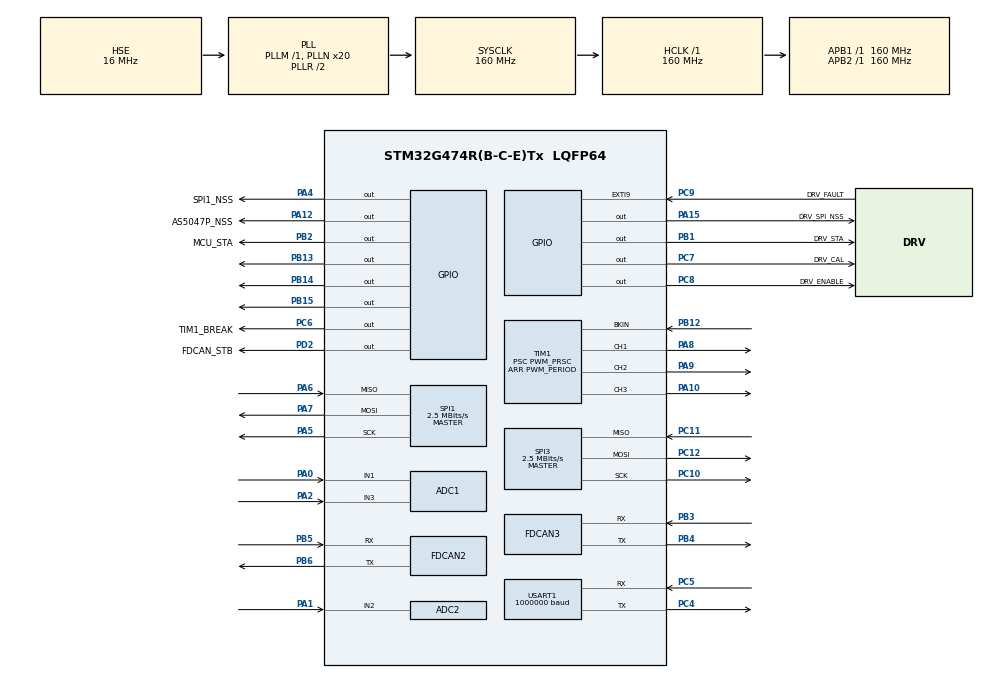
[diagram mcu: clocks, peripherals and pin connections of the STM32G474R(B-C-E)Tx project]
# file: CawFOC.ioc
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ADC1.Channel-0\#ChannelRegularConversion=ADC_CHANNEL_1
ADC1.EnableInjectedConversion=ENABLE
ADC1.ExternalTrigInjecConv=ADC_EXTERNALTRIGINJEC_T1_CC4
ADC1.ExternalTrigInjecConvEdge=ADC_EXTERNALTRIGINJECCONV_EDGE_FALLING
ADC1.InjNumberOfConversion=1
ADC1.InjectedChannel-1\#ChannelInjectedConversion=ADC_CHANNEL_1
ADC1.InjectedOffsetNumber-1\#ChannelInjectedConversion=ADC_OFFSET_NONE
ADC1.InjectedRank-1\#ChannelInjectedConversion=1
ADC1.InjectedSamplingTime-1\#ChannelInjectedConversion=ADC_SAMPLETIME_6CYCLES_5
ADC1.NbrOfConversionFlag=1
ADC1.OffsetNumber-0\#ChannelRegularConversion=ADC_OFFSET_NONE
ADC1.Rank-0\#ChannelRegularConversion=1
ADC1.SamplingTime-0\#ChannelRegularConversion=ADC_SAMPLETIME_2CYCLES_5
ADC1.master=1
ADC2.Channel-0\#ChannelRegularConversion=ADC_CHANNEL_2
ADC2.EnableInjectedConversion=ENABLE
ADC2.ExternalTrigInjecConv=ADC_EXTERNALTRIGINJEC_T1_CC4
ADC2.ExternalTrigInjecConvEdge=ADC_EXTERNALTRIGINJECCONV_EDGE_FALLING
ADC2.InjNumberOfConversion=1
ADC2.InjectedChannel-1\#ChannelInjectedConversion=ADC_CHANNEL_2
ADC2.InjectedOffsetNumber-1\#ChannelInjectedConversion=ADC_OFFSET_NONE
ADC2.InjectedRank-1\#ChannelInjectedConversion=1
ADC2.InjectedSamplingTime-1\#ChannelInjectedConversion=ADC_SAMPLETIME_6CYCLES_5
ADC2.NbrOfConversionFlag=1
ADC2.OffsetNumber-0\#ChannelRegularConversion=ADC_OFFSET_NONE
ADC2.Rank-0\#ChannelRegularConversion=1
ADC2.Rank1_Channel=ADC_CHANNEL_2
ADC2.SamplingTime-0\#ChannelRegularConversion=ADC_SAMPLETIME_2CYCLES_5
Dma.Request0=USART1_TX
Dma.Request1=USART1_RX
Dma.USART1_RX.1.Direction=DMA_PERIPH_TO_MEMORY
Dma.USART1_RX.1.EventEnable=DISABLE
Dma.USART1_RX.1.Instance=DMA1_Channel2
Dma.USART1_RX.1.MemDataAlignment=DMA_MDATAALIGN_BYTE
Dma.USART1_RX.1.MemInc=DMA_MINC_ENABLE
Dma.USART1_RX.1.Mode=DMA_NORMAL
Dma.USART1_RX.1.PeriphDataAlignment=DMA_PDATAALIGN_BYTE
Dma.USART1_RX.1.PeriphInc=DMA_PINC_DISABLE
Dma.USART1_RX.1.Polarity=HAL_DMAMUX_REQ_GEN_RISING
Dma.USART1_RX.1.Priority=DMA_PRIORITY_VERY_HIGH
Dma.USART1_RX.1.RequestNumber=1
Dma.USART1_RX.1.SignalID=NONE
Dma.USART1_RX.1.SyncEnable=DISABLE
Dma.USART1_RX.1.SyncPolarity=HAL_DMAMUX_SYNC_NO_EVENT
Dma.USART1_RX.1.SyncRequestNumber=1
Dma.USART1_RX.1.SyncSignalID=NONE
Dma.USART1_TX.0.Direction=DMA_MEMORY_TO_PERIPH
Dma.USART1_TX.0.EventEnable=DISABLE
Dma.USART1_TX.0.Instance=DMA1_Channel1
Dma.USART1_TX.0.MemDataAlignment=DMA_MDATAALIGN_BYTE
Dma.USART1_TX.0.MemInc=DMA_MINC_ENABLE
Dma.USART1_TX.0.Mode=DMA_NORMAL
Dma.USART1_TX.0.PeriphDataAlignment=DMA_PDATAALIGN_BYTE
Dma.USART1_TX.0.PeriphInc=DMA_PINC_DISABLE
Dma.USART1_TX.0.Polarity=HAL_DMAMUX_REQ_GEN_RISING
Dma.USART1_TX.0.Priority=DMA_PRIORITY_VERY_HIGH
Dma.USART1_TX.0.RequestNumber=1
Dma.USART1_TX.0.SignalID=NONE
Dma.USART1_TX.0.SyncEnable=DISABLE
Dma.USART1_TX.0.SyncPolarity=HAL_DMAMUX_SYNC_NO_EVENT
Dma.USART1_TX.0.SyncRequestNumber=1
Dma.USART1_TX.0.SyncSignalID=NONE
FDCAN2.CalculateBaudRateNominal=3333333
FDCAN2.CalculateTimeBitNominal=300
FDCAN2.CalculateTimeQuantumNominal=100.0
FDCAN3.CalculateBaudRateNominal=3333333
FDCAN3.CalculateTimeBitNominal=300
FDCAN3.CalculateTimeQuantumNominal=100.0
FREERTOS.BinarySemaphores01=observationBinarySem,Dynamic,NULL,Available
FREERTOS.MEMORY_ALLOCATION=2
FREERTOS.Tasks01=defaultTask,0,256,StartDefaultTask,Default,NULL,Static,defaultTaskBuffer,defaultTaskControlBlock;eventTask,0,512,StartEventTask,Default,NULL,Static,stateTaskBuffer,stateTaskControlBlock
FREERTOS.configENABLE_FPU=1
FREERTOS.configTOTAL_HEAP_SIZE=30720
FREERTOS.configUSE_TIMERS=0
Mcu.Family=STM32G4
Mcu.Name=STM32G474R(B-C-E)Tx
Mcu.Package=LQFP64
Mcu.UserConstants=CKTIM,160000000;PWM4_PULSE,1500;PWM_PRSC,0;PWM_FREQ,20000;PWM_PERIOD,CKTIM/(2*PWM_FREQ*(PWM_PRSC+1))
NVIC.ADC1_2_IRQn=true\:10\:0\:true\:false\:true\:true\:true\:true\:true
NVIC.DMA1_Channel1_IRQn=true\:5\:0\:true\:false\:true\:true\:true\:true\:true
NVIC.DMA1_Channel2_IRQn=true\:5\:0\:true\:false\:true\:true\:false\:true\:true
NVIC.PriorityGroup=NVIC_PRIORITYGROUP_4
NVIC.TIM1_UP_TIM16_IRQn=true\:10\:0\:true\:false\:true\:true\:true\:true\:true
NVIC.TIM6_DAC_IRQn=true\:15\:0\:true\:false\:true\:false\:false\:true\:true
NVIC.TIM8_UP_IRQn=true\:5\:0\:true\:false\:true\:true\:true\:true\:true
NVIC.TimeBase=TIM6_DAC_IRQn
NVIC.TimeBaseIP=TIM6
NVIC.USART1_IRQn=true\:5\:0\:true\:false\:true\:true\:true\:true\:true
PA0.Mode=IN1-Single-Ended
PA0.Signal=ADC1_IN1
PA1.Mode=IN2-Single-Ended
PA1.Signal=ADC2_IN2
PA10.Signal=S_TIM1_CH3
PA12.GPIO_Label=AS5047P_NSS
PA12.GPIO_Speed=GPIO_SPEED_FREQ_VERY_HIGH
PA12.PinState=GPIO_PIN_SET
PA12.Signal=GPIO_Output
PA13.Mode=Serial_Wire
PA13.Signal=SYS_JTMS-SWDIO
PA14.Mode=Serial_Wire
PA14.Signal=SYS_JTCK-SWCLK
PA15.GPIO_Label=DRV_SPI_NSS
PA15.GPIO_Speed=GPIO_SPEED_FREQ_VERY_HIGH
PA15.PinState=GPIO_PIN_SET
PA15.Signal=GPIO_Output
PA2.Mode=IN3-Single-Ended
PA2.Signal=ADC1_IN3
PA4.GPIO_Label=SPI1_NSS
PA4.GPIO_Speed=GPIO_SPEED_FREQ_VERY_HIGH
PA4.PinState=GPIO_PIN_SET
PA4.Signal=GPIO_Output
PA5.GPIO_Speed=GPIO_SPEED_FREQ_VERY_HIGH
PA5.Mode=Full_Duplex_Master
PA5.Signal=SPI1_SCK
PA6.GPIO_Speed=GPIO_SPEED_FREQ_VERY_HIGH
PA6.Mode=Full_Duplex_Master
PA6.Signal=SPI1_MISO
PA7.GPIO_Speed=GPIO_SPEED_FREQ_VERY_HIGH
PA7.Mode=Full_Duplex_Master
PA7.Signal=SPI1_MOSI
PA8.Signal=S_TIM1_CH1
PA9.Signal=S_TIM1_CH2
PB1.GPIO_Label=DRV_STA
PB1.Signal=GPIO_Output
PB12.Mode=Activate-Break-Input
PB12.Signal=TIM1_BKIN
PB13.GPIO_PuPd=GPIO_PULLUP
PB13.PinState=GPIO_PIN_SET
PB13.Signal=GPIO_Output
PB14.GPIO_PuPd=GPIO_PULLUP
PB14.PinState=GPIO_PIN_SET
PB14.Signal=GPIO_Output
PB15.GPIO_PuPd=GPIO_PULLUP
PB15.PinState=GPIO_PIN_SET
PB15.Signal=GPIO_Output
PB2.GPIO_Label=MCU_STA
PB2.Signal=GPIO_Output
PB3.Mode=FDCAN_Activate
PB3.Signal=FDCAN3_RX
PB4.Mode=FDCAN_Activate
PB4.Signal=FDCAN3_TX
PB5.Mode=FDCAN_Activate
PB5.Signal=FDCAN2_RX
PB6.Mode=FDCAN_Activate
PB6.Signal=FDCAN2_TX
PC10.GPIO_Speed=GPIO_SPEED_FREQ_VERY_HIGH
PC10.Mode=Full_Duplex_Master
PC10.Signal=SPI3_SCK
PC11.GPIO_Speed=GPIO_SPEED_FREQ_VERY_HIGH
PC11.Mode=Full_Duplex_Master
PC11.Signal=SPI3_MISO
PC12.GPIO_Speed=GPIO_SPEED_FREQ_VERY_HIGH
PC12.Mode=Full_Duplex_Master
PC12.Signal=SPI3_MOSI
PC4.GPIO_Speed=GPIO_SPEED_FREQ_VERY_HIGH
PC4.Mode=Asynchronous
PC4.Signal=USART1_TX
PC5.GPIO_Speed=GPIO_SPEED_FREQ_VERY_HIGH
PC5.Mode=Asynchronous
PC5.Signal=USART1_RX
PC6.GPIO_Label=TIM1_BREAK
PC6.Signal=GPIO_Output
PC7.GPIO_Label=DRV_CAL
PC7.Signal=GPIO_Output
PC8.GPIO_Label=DRV_ENABLE
PC8.Signal=GPIO_Output
PC9.GPIO_Label=DRV_FAULT
PC9.Signal=GPXTI9
PD2.GPIO_Label=FDCAN_STB
PD2.Signal=GPIO_Output
PF0-OSC_IN.Mode=HSE-External-Oscillator
PF0-OSC_IN.Signal=RCC_OSC_IN
PF1-OSC_OUT.Mode=HSE-External-Oscillator
PF1-OSC_OUT.Signal=RCC_OSC_OUT
ProjectManager.HeapSize=0x200
ProjectManager.StackSize=0x400
ProjectManager.TargetToolchain=Makefile
RCC.ADC12Freq_Value=160000000
RCC.ADC345Freq_Value=160000000
RCC.AHBFreq_Value=160000000
RCC.APB1Freq_Value=160000000
RCC.APB1TimFreq_Value=160000000
RCC.APB2Freq_Value=160000000
RCC.APB2TimFreq_Value=160000000
RCC.CortexFreq_Value=160000000
RCC.EXTERNAL_CLOCK_VALUE=12288000
RCC.EnbaleCSS=true
RCC.HCLKFreq_Value=160000000
RCC.HSE_VALUE=16000000
RCC.HSI48_VALUE=48000000
RCC.HSI_VALUE=16000000
RCC.LSE_VALUE=32768
RCC.PLLN=20
RCC.PLLSourceVirtual=RCC_PLLSOURCE_HSE
RCC.SYSCLKFreq_VALUE=160000000
RCC.SYSCLKSource=RCC_SYSCLKSOURCE_PLLCLK
RCC.USBFreq_Value=160000000
RCC.VCOOutputFreq_Value=320000000
SH.S_TIM1_CH1.0=TIM1_CH1,PWM Generation1 CH1
SH.S_TIM1_CH2.0=TIM1_CH2,PWM Generation2 CH2
SH.S_TIM1_CH3.0=TIM1_CH3,PWM Generation3 CH3
SPI1.BaudRatePrescaler=SPI_BAUDRATEPRESCALER_64
SPI1.CLKPhase=SPI_PHASE_2EDGE
SPI1.CalculateBaudRate=2.5 MBits/s
SPI1.DataSize=SPI_DATASIZE_16BIT
SPI1.Direction=SPI_DIRECTION_2LINES
SPI1.Mode=SPI_MODE_MASTER
SPI1.VirtualType=VM_MASTER
SPI3.BaudRatePrescaler=SPI_BAUDRATEPRESCALER_64
SPI3.CLKPhase=SPI_PHASE_2EDGE
SPI3.CalculateBaudRate=2.5 MBits/s
SPI3.DataSize=SPI_DATASIZE_16BIT
SPI3.Direction=SPI_DIRECTION_2LINES
SPI3.Mode=SPI_MODE_MASTER
SPI3.VirtualType=VM_MASTER
TIM1.AutoReloadPreload=TIM_AUTORELOAD_PRELOAD_ENABLE
TIM1.Channel-PWM\ Generation1\ CH1=TIM_CHANNEL_1
TIM1.Channel-PWM\ Generation2\ CH2=TIM_CHANNEL_2
TIM1.Channel-PWM\ Generation3\ CH3=TIM_CHANNEL_3
TIM1.Channel-PWM\ Generation4\ No\ Output=TIM_CHANNEL_4
TIM1.ClockDivision=TIM_CLOCKDIVISION_DIV1
TIM1.CounterMode=TIM_COUNTERMODE_CENTERALIGNED1
TIM1.LockLevel=TIM_LOCKLEVEL_1
TIM1.PeriodNoDither=PWM_PERIOD
TIM1.Prescaler=PWM_PRSC
TIM1.PulseNoDither_4=PWM4_PULSE
TIM1.RepetitionCounter=1
TIM8.AutoReloadPreload=TIM_AUTORELOAD_PRELOAD_ENABLE
TIM8.CounterMode=TIM_COUNTERMODE_CENTERALIGNED1
TIM8.PeriodNoDither=PWM_PERIOD
TIM8.Prescaler=PWM_PRSC
TIM8.RepetitionCounter=1
USART1.BaudRate=1000000
USART1.VirtualMode-Asynchronous=VM_ASYNC
VP_FREERTOS_VS_CMSIS_V1.Mode=CMSIS_V1
VP_SYS_VS_DBSignals.Mode=DisableDeadBatterySignals
VP_SYS_VS_tim6.Mode=TIM6
VP_TIM1_VS_ClockSourceINT.Mode=Internal
VP_TIM1_VS_no_output4.Mode=PWM Generation4 No Output
VP_TIM8_VS_ClockSourceINT.Mode=Internal
board=custom

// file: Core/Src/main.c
/* USER CODE BEGIN Header */
/**
 ******************************************************************************
 * @file           : main.c
 * @brief          : Main program body
 ******************************************************************************
 * @attention
 *
 * Copyright (c) 2024 STMicroelectronics.
 * All rights reserved.
 *
 * This software is licensed under terms that can be found in the LICENSE file
 * in the root directory of this software component.
 * If no LICENSE file comes with this software, it is provided AS-IS.
 *
 ******************************************************************************
 */
/* USER CODE END Header */
#include "main.h"
#include "cmsis_os.h"
#include "adc.h"
#include "dma.h"
#include "fdcan.h"
#include "spi.h"
#include "tim.h"
#include "usart.h"
#include "gpio.h"

void SystemClock_Config(void);
void MX_FREERTOS_Init(void);

int main(void)
{

  /* MCU Configuration--------------------------------------------------------*/

  /* Reset of all peripherals, Initializes the Flash interface and the Systick. */
  HAL_Init();

  /* Configure the system clock */
  SystemClock_Config();

  /* Initialize all configured peripherals */
  MX_GPIO_Init();
  MX_DMA_Init();
  MX_ADC1_Init();
  MX_FDCAN2_Init();
  MX_FDCAN3_Init();
  MX_SPI1_Init();
  MX_SPI3_Init();
  MX_TIM1_Init();
  MX_USART1_UART_Init();
  MX_ADC2_Init();
  MX_TIM8_Init();

  /* Call init function for freertos objects (in cmsis_os2.c) */
  MX_FREERTOS_Init();

  /* Start scheduler */
  osKernelStart();

  /* We should never get here as control is now taken by the scheduler */

  /* Infinite loop */
  while (1) {

  }
}

void SystemClock_Config(void)
{
  RCC_OscInitTypeDef RCC_OscInitStruct = {0};
  RCC_ClkInitTypeDef RCC_ClkInitStruct = {0};

  /** Configure the main internal regulator output voltage
  */
  HAL_PWREx_ControlVoltageScaling(PWR_REGULATOR_VOLTAGE_SCALE1_BOOST);

  /** Initializes the RCC Oscillators according to the specified parameters
  * in the RCC_OscInitTypeDef structure.
  */
  RCC_OscInitStruct.OscillatorType = RCC_OSCILLATORTYPE_HSE;
  RCC_OscInitStruct.HSEState = RCC_HSE_ON;
  RCC_OscInitStruct.PLL.PLLState = RCC_PLL_ON;
  RCC_OscInitStruct.PLL.PLLSource = RCC_PLLSOURCE_HSE;
  RCC_OscInitStruct.PLL.PLLM = RCC_PLLM_DIV1;
  RCC_OscInitStruct.PLL.PLLN = 20;
  RCC_OscInitStruct.PLL.PLLP = RCC_PLLP_DIV2;
  RCC_OscInitStruct.PLL.PLLQ = RCC_PLLQ_DIV2;
  RCC_OscInitStruct.PLL.PLLR = RCC_PLLR_DIV2;
  if (HAL_RCC_OscConfig(&RCC_OscInitStruct) != HAL_OK)
  {
    Error_Handler();
  }

  /** Initializes the CPU, AHB and APB buses clocks
  */
  RCC_ClkInitStruct.ClockType = RCC_CLOCKTYPE_HCLK|RCC_CLOCKTYPE_SYSCLK
                              |RCC_CLOCKTYPE_PCLK1|RCC_CLOCKTYPE_PCLK2;
  RCC_ClkInitStruct.SYSCLKSource = RCC_SYSCLKSOURCE_PLLCLK;
  RCC_ClkInitStruct.AHBCLKDivider = RCC_SYSCLK_DIV1;
  RCC_ClkInitStruct.APB1CLKDivider = RCC_HCLK_DIV1;
  RCC_ClkInitStruct.APB2CLKDivider = RCC_HCLK_DIV1;

  if (HAL_RCC_ClockConfig(&RCC_ClkInitStruct, FLASH_LATENCY_4) != HAL_OK)
  {
    Error_Handler();
  }

  /** Enables the Clock Security System
  */
  HAL_RCC_EnableCSS();
}

void HAL_TIM_PeriodElapsedCallback(TIM_HandleTypeDef *htim)
{
  if (htim->Instance == TIM6) {
    HAL_IncTick();
  }
}

void Error_Handler(void)
{
  __disable_irq();
  while (1) {
  }
}

#ifdef  USE_FULL_ASSERT
/**
  * @brief  Reports the name of the source file and the source line number
  *         where the assert_param error has occurred.
  * @param  file: pointer to the source file name
  * @param  line: assert_param error line source number
  * @retval None
  */
void assert_failed(uint8_t *file, uint32_t line)
{
  /* USER CODE BEGIN 6 */
  /* User can add his own implementation to report the file name and line
     number, ex: printf("Wrong parameters value: file %s on line %d\r\n", file,
     line) */
  /* USER CODE END 6 */
}
#endif /* USE_FULL_ASSERT */

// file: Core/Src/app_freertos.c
/* USER CODE BEGIN Header */
/**
 ******************************************************************************
 * File Name          : app_freertos.c
 * Description        : Code for freertos applications
 ******************************************************************************
 * @attention
 *
 * Copyright (c) 2024 STMicroelectronics.
 * All rights reserved.
 *
 * This software is licensed under terms that can be found in the LICENSE file
 * in the root directory of this software component.
 * If no LICENSE file comes with this software, it is provided AS-IS.
 *
 ******************************************************************************
 */
/* USER CODE END Header */

#include "FreeRTOS.h"
#include "cmsis_os.h"
#include "main.h"
#include "task.h"

/* USER CODE BEGIN Includes */
#include "../../caw_embedded/app/motor/observation.h"
#include "as5047p.h"
#include "caw_config.h"
#include "code.h"
#include "current.h"
#include "custom.h"
#include "device.h"
#include "drv8323.h"
#include "event.h"
#include "helper.h"
#include "log.h"
#include "lowpass_filter.h"
#include "motor.h"
#include "motor_flash_params.h"
#include "motor_init_params.h"
#include "motor_load_params.h"
#include "motor_params.h"
#include "motor_set_params.h"
#include "pid.h"
#include "pwmx3.h"

/* USER CODE END Includes */

/* USER CODE BEGIN Variables */
device_t usart_dev;
drv8323_t drv8323_dev;
motor_t motor;
pwmx3_driver driver;
as5047p_t sensor;
current_t current_sensor;

extern pid_t global_motor_pid_current_q;
extern lowpass_filter_t global_motor_lpf_q;
extern pid_t global_motor_pid_current_d;
extern lowpass_filter_t global_motor_lpf_d;
extern pid_t global_motor_pid_velocity;
extern lowpass_filter_t global_motor_lpf_velocity;
extern pid_t global_motor_pid_angle;
extern lowpass_filter_t global_motor_lpf_angle;
extern pll_t global_motor_encoder_pll;

event_t event;

extern motor_params_t global_motor_params;
/* USER CODE END Variables */
osThreadId defaultTaskHandle;
uint32_t defaultTaskBuffer[256];
osStaticThreadDef_t defaultTaskControlBlock;
osThreadId eventTaskHandle;
uint32_t stateTaskBuffer[512];
osStaticThreadDef_t stateTaskControlBlock;
osSemaphoreId observationBinarySemHandle;

void StartDefaultTask(void const* argument);
void StartEventTask(void const* argument);

void MX_FREERTOS_Init(void); /* (MISRA C 2004 rule 8.1) */

/* GetIdleTaskMemory prototype (linked to static allocation support) */
void vApplicationGetIdleTaskMemory(StaticTask_t** ppxIdleTaskTCBBuffer,
                                   StackType_t** ppxIdleTaskStackBuffer,
                                   uint32_t* pulIdleTaskStackSize);

/* USER CODE BEGIN GET_IDLE_TASK_MEMORY */
static StaticTask_t xIdleTaskTCBBuffer;
static StackType_t xIdleStack[configMINIMAL_STACK_SIZE];

void vApplicationGetIdleTaskMemory(StaticTask_t** ppxIdleTaskTCBBuffer,
                                   StackType_t** ppxIdleTaskStackBuffer,
                                   uint32_t* pulIdleTaskStackSize) {
  *ppxIdleTaskTCBBuffer = &xIdleTaskTCBBuffer;
  *ppxIdleTaskStackBuffer = &xIdleStack[0];
  *pulIdleTaskStackSize = configMINIMAL_STACK_SIZE;
  /* place for user code */
}
/* USER CODE END GET_IDLE_TASK_MEMORY */

void MX_FREERTOS_Init(void) {
  /* USER CODE BEGIN Init */
  log_init(&usart_dev);
  device_init(&usart_dev);
  device_set_id(&usart_dev, 0x1001, device_type_motor);
  event_init(&usart_dev);
  event_register(main_code_motor, sub_code_motor_load_params,
                 motor_load_params_cb);
  event_register(main_code_motor, sub_code_motor_init_params,
                 motor_init_params_cb);
  event_register(main_code_motor, sub_code_motor_set_params,
                 motor_set_params_cb);
  event_register(main_code_motor, sub_code_motor_flash_params,
                 motor_flash_params_cb);
  event_run();

  info("CawDrive v1.0.0");
  info("https://github.com/fake-rick/caw-drive");

  drv8323_init(&drv8323_dev, &hspi3);
  info("DRV8323 init ok");
  motor_custom_init(&drv8323_dev);
  pwmx3_driver_init(&driver, &htim1, 12.0, 12.0, PWM_PERIOD);

  as5047p_init(&sensor, &hspi3);
  info("AS5047P init ok");
  current_init(&current_sensor, &htim1, TIM_CHANNEL_4, &hadc1, &hadc2, 0.001,
               40.0);
  current_calibrate_offsets(&current_sensor);

  motor_params_load(&global_motor_params);
  motor_params_reset();

  // pll_init(&encoder_pll, as5047p_get_cpr(), 1000.0);

  motor_init(&motor, &driver, &current_sensor, &sensor, -1,
             global_motor_params.mode, 7, &global_motor_pid_current_q,
             &global_motor_lpf_q, &global_motor_pid_current_d,
             &global_motor_lpf_d, &global_motor_pid_velocity,
             &global_motor_lpf_velocity, &global_motor_pid_angle,
             &global_motor_lpf_angle, 0);

  motor_align_sensor(&motor);

  HAL_TIM_Base_Start_IT(&htim8);

  info("initialized successfully");
  /* USER CODE END Init */

  /* Create the semaphores(s) */
  /* definition and creation of observationBinarySem */
  osSemaphoreDef(observationBinarySem);
  observationBinarySemHandle =
      osSemaphoreCreate(osSemaphore(observationBinarySem), 1);

  /* Create the thread(s) */
  /* definition and creation of defaultTask */
  osThreadStaticDef(defaultTask, StartDefaultTask, osPriorityNormal, 0, 256,
                    defaultTaskBuffer, &defaultTaskControlBlock);
  defaultTaskHandle = osThreadCreate(osThread(defaultTask), NULL);

  /* definition and creation of eventTask */
  osThreadStaticDef(eventTask, StartEventTask, osPriorityNormal, 0, 512,
                    stateTaskBuffer, &stateTaskControlBlock);
  eventTaskHandle = osThreadCreate(osThread(eventTask), NULL);

}

void StartDefaultTask(void const* argument) {
  /* USER CODE BEGIN StartDefaultTask */
  /* Infinite loop */
  for (;;) {
    motor_observation_write_pack(&motor, &usart_dev);
    osDelay(2);
  }
  /* USER CODE END StartDefaultTask */
}

void StartEventTask(void const* argument) {
  /* USER CODE BEGIN StartEventTask */
  /* Infinite loop */
  for (;;) {
    event_step(&event);
    osDelay(1);
  }
  /* USER CODE END StartEventTask */
}
